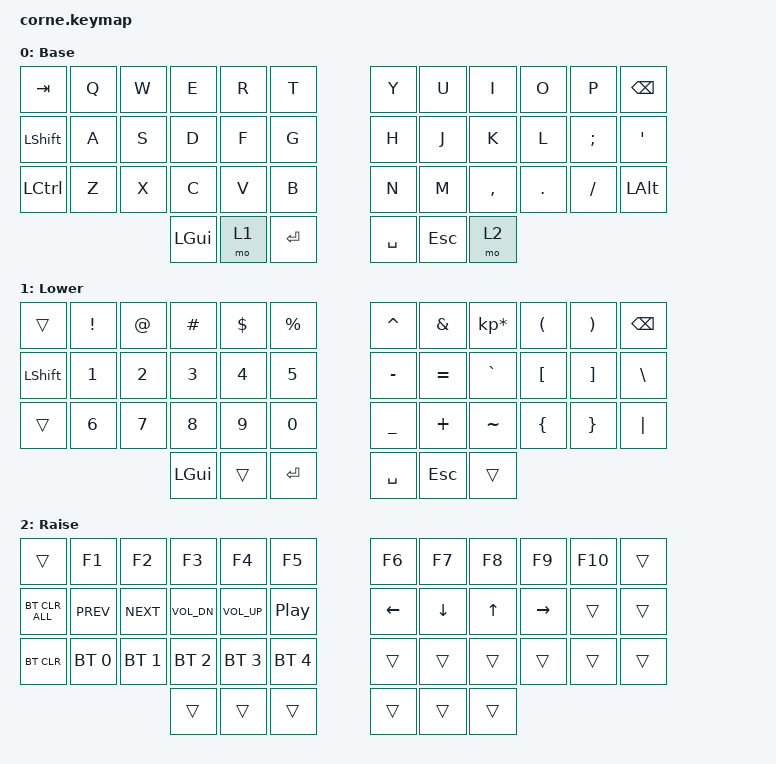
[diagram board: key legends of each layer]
/*
 * Copyright (c) 2020 The ZMK Contributors
 *
 * SPDX-License-Identifier: MIT
 */

#include <behaviors.dtsi>
#include <dt-bindings/zmk/keys.h>
#include <dt-bindings/zmk/bt.h>

/ {
        keymap {
                compatible = "zmk,keymap";

                default_layer {
// -----------------------------------------------------------------------------------------
// |  TAB |  Q  |  W  |  E  |  R  |  T  |   |  Y  |  U   |  I  |  O  |  P  | BKSP |
// | SHFT |  A  |  S  |  D  |  F  |  G  |   |  H  |  J   |  K  |  L  |  ;  |  '   |
// | CTRL |  Z  |  X  |  C  |  V  |  B  |   |  N  |  M   |  ,  |  .  |  /  | ALT  |
//                    | GUI | LWR | ENT |   | SPC | ESC  | RSE |
                        display-name = "Base";
                        bindings = <
   &kp TAB   &kp Q &kp W &kp E &kp R &kp T   &kp Y &kp U  &kp I     &kp O   &kp P    &kp BSPC
   &kp LSHFT &kp A &kp S &kp D &kp F &kp G   &kp H &kp J  &kp K     &kp L   &kp SEMI &kp SQT
   &kp LCTRL &kp Z &kp X &kp C &kp V &kp B   &kp N &kp M  &kp COMMA &kp DOT &kp FSLH &kp LALT
                  &kp LGUI &mo 1 &kp RET   &kp SPACE &kp ESC &mo 2
                        >;
                };
                lower_layer {
// -----------------------------------------------------------------------------------------
// |      |  !  |  @  |  #  |  $  |  %  |   |  ^  |  &  |  *  |  (  |  )  | BKSP |
// | SHFT |  1  |  2  |  3  |  4  |  5  |   |  -  |  =  |  `  |  [  |  ]  |   \  |
// |      |  6  |  7  |  8  |  9  |  0  |   |  _  |  +  |  ~  |  {  |  }  |  "|" |
//                    | GUI |     | ENT |   | SPC | ESC |     |
                        display-name = "Lower";
                        bindings = <
   &trans    &kp EXCL &kp AT &kp HASH &kp DLLR &kp PRCNT   &kp CARET &kp AMPS  &kp KP_MULTIPLY &kp LPAR &kp RPAR &kp BSPC
   &kp LSHFT &kp N1   &kp N2 &kp N3   &kp N4   &kp N5      &kp MINUS &kp EQUAL &kp GRAVE       &kp LBKT &kp RBKT &kp BSLH
   &trans    &kp N6   &kp N7 &kp N8   &kp N9   &kp N0      &kp UNDER &kp PLUS  &kp TILDE       &kp LBRC &kp RBRC &kp PIPE
                              &kp LGUI &trans   &kp RET     &kp SPACE &kp ESC   &trans
                        >;
                };
                raise_layer {
// -----------------------------------------------------------------------------------------
// |       |  F1  |  F2  |  F3  |  F4  |  F5 |            |  F6  |  F7  |  F8  |  F9  |  F10  |   |
// |       | Prev | Next | Vol - | Vol + | Play/Pause |   |      | LFT | DWN |  UP | RGT |     |     |
// | BTCLR | BT1 | BT2 | BT3 | BT4 | BT5 |   |            |     |     |     |     |     |     |
//                    |     |     |    |                  |     |     |     |
                        display-name = "Raise";
                        bindings = <
   &trans     &kp F1        &kp F2       &kp F3       &kp F4       &kp F5          &kp F6   &kp F7   &kp F8 &kp F9    &kp F10 &trans
   &bt BT_CLR_ALL     &kp C_PREV    &kp C_NEXT   &kp C_VOL_DN &kp C_VOL_UP &kp C_PP        &kp LEFT &kp DOWN &kp UP &kp RIGHT &trans &trans
   &bt BT_CLR &bt BT_SEL 0  &bt BT_SEL 1 &bt BT_SEL 2 &bt BT_SEL 3 &bt BT_SEL 4    &trans   &trans   &trans &trans    &trans &trans
                          	                        &trans   &trans   &trans       &trans   &trans   &trans
                        >;
                };

                extra_1 {
                        status = "reserved";
                };

                extra_2 {
                        status = "reserved";
                };

                extra_3 {
                        status = "reserved";
                };
        };
};
